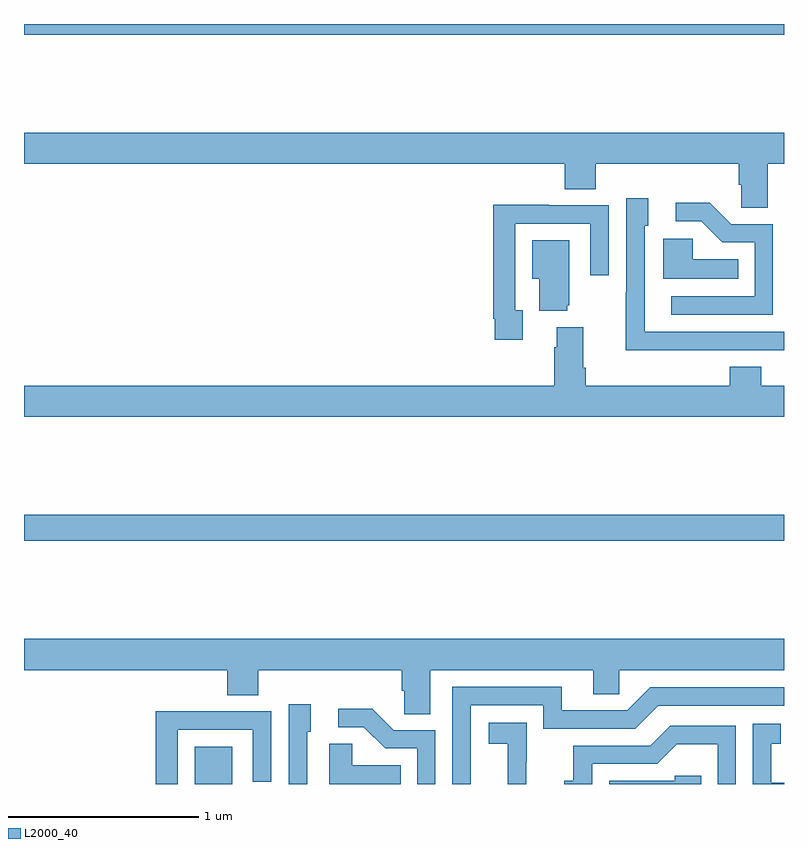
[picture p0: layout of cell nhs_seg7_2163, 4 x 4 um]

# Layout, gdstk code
import gdstk
lib = gdstk.Library(unit=1e-6, precision=1e-09)
def R(c, l, rs):  # rectangles x0, y0, x1, y1
    for r in rs: c.add(gdstk.rectangle(r[:2], r[2:], *l))
def P(c, l, *ps):  # polygons
    for p in ps: c.add(gdstk.Polygon(p, *l))
L2000_40 = (2000, 40)

nhs_seg7_2163 = lib.new_cell('nhs_seg7_2163')
R(nhs_seg7_2163, L2000_40, [(253.898,1016,254.095,1016.197), (253,1017.28,257,1017.416), (253,1019.944,257,1020)])
P(nhs_seg7_2163, L2000_40, [(256.915,1019.264),(257,1019.264),(257,1019.428),(253,1019.428),(253,1019.264),(255.845,1019.264),(255.845,1019.131),(256.01,1019.131),(256.01,1019.264),(256.763,1019.264),(256.763,1019.155),(256.776,1019.155),(256.776,1019.032),(256.915,1019.032)],
  [(256.631,1018.284),(257,1018.284),(257,1018.38),(256.267,1018.38),(256.267,1018.634),(256.266,1018.634),(256.266,1018.938),(256.285,1018.938),(256.285,1019.083),(256.17,1019.083),(256.17,1018.589),(256.168,1018.589),(256.168,1018.283),(256.631,1018.283)],
  [(256.941,1018.947),(256.722,1018.947),(256.609,1019.06),(256.431,1019.06),(256.431,1018.962),(256.565,1018.962),(256.676,1018.851),(256.845,1018.851),(256.845,1018.566),(256.407,1018.566),(256.407,1018.47),(256.941,1018.47)],
  [(255.625,1018.494),(255.585,1018.494),(255.585,1018.95),(255.981,1018.95),(255.981,1018.677),(256.077,1018.677),(256.077,1019.046),(255.761,1019.046),(255.761,1019.048),(255.469,1019.048),(255.469,1018.45),(255.477,1018.45),(255.477,1018.338),(255.625,1018.338)],
  [(256.76,1018.762),(256.521,1018.762),(256.521,1018.87),(256.364,1018.87),(256.364,1018.658),(256.76,1018.658)],
  [(255.86,1018.521),(255.871,1018.521),(255.871,1018.861),(255.674,1018.861),(255.674,1018.658),(255.713,1018.658),(255.713,1018.49),(255.86,1018.49)],
  [(257,1018.096),(256.88,1018.096),(256.88,1018.195),(256.715,1018.195),(256.715,1018.096),(255.956,1018.096),(255.956,1018.192),(255.943,1018.192),(255.943,1018.405),(255.803,1018.405),(255.803,1018.298),(255.791,1018.298),(255.791,1018.096),(253,1018.096),(253,1017.932),(257,1017.932)],
  [(255.139,1016.6),(255.995,1016.6),(255.995,1016.473),(256.134,1016.473),(256.134,1016.6),(257,1016.6),(257,1016.764),(253,1016.764),(253,1016.6),(254.069,1016.6),(254.069,1016.467),(254.234,1016.467),(254.234,1016.6),(254.987,1016.6),(254.987,1016.491),(255,1016.491),(255,1016.368),(255.139,1016.368)],
  [(255.351,1016.415),(255.732,1016.415),(255.732,1016.292),(256.218,1016.292),(256.338,1016.412),(257,1016.412),(257,1016.508),(256.296,1016.508),(256.176,1016.388),(255.829,1016.388),(255.829,1016.511),(255.255,1016.511),(255.255,1016),(255.351,1016)],
  [(254.49,1016.274),(254.509,1016.274),(254.509,1016.419),(254.394,1016.419),(254.394,1016),(254.49,1016)],
  [(255.165,1016.283),(254.946,1016.283),(254.833,1016.396),(254.655,1016.396),(254.655,1016.298),(254.789,1016.298),(254.9,1016.187),(255.069,1016.187),(255.069,1016),(255.165,1016)],
  [(253.809,1016.286),(254.205,1016.286),(254.205,1016.013),(254.301,1016.013),(254.301,1016.382),(253.985,1016.382),(253.985,1016.384),(253.693,1016.384),(253.693,1016),(253.809,1016)],
  [(255.644,1016.117),(255.645,1016.117),(255.645,1016.323),(255.447,1016.323),(255.447,1016.213),(255.545,1016.213),(255.545,1016),(255.644,1016)],
  [(257,1016.007),(256.933,1016.007),(256.933,1016.211),(256.982,1016.211),(256.982,1016.317),(256.836,1016.317),(256.836,1016),(257,1016)],
  [(255.99,1016.106),(256.332,1016.106),(256.436,1016.21),(256.65,1016.21),(256.65,1016),(256.746,1016),(256.746,1016.307),(256.4,1016.307),(256.295,1016.202),(255.892,1016.202),(255.892,1016.017),(255.843,1016.017),(255.843,1016),(255.99,1016)],
  [(254.984,1016.098),(254.727,1016.098),(254.727,1016.213),(254.606,1016.213),(254.606,1016),(254.984,1016)],
  [(256.565,1016.043),(256.425,1016.043),(256.425,1016.016),(256.08,1016.016),(256.08,1016),(256.565,1016)])

lib.write_gds('nhs_seg7_2163.gds')
